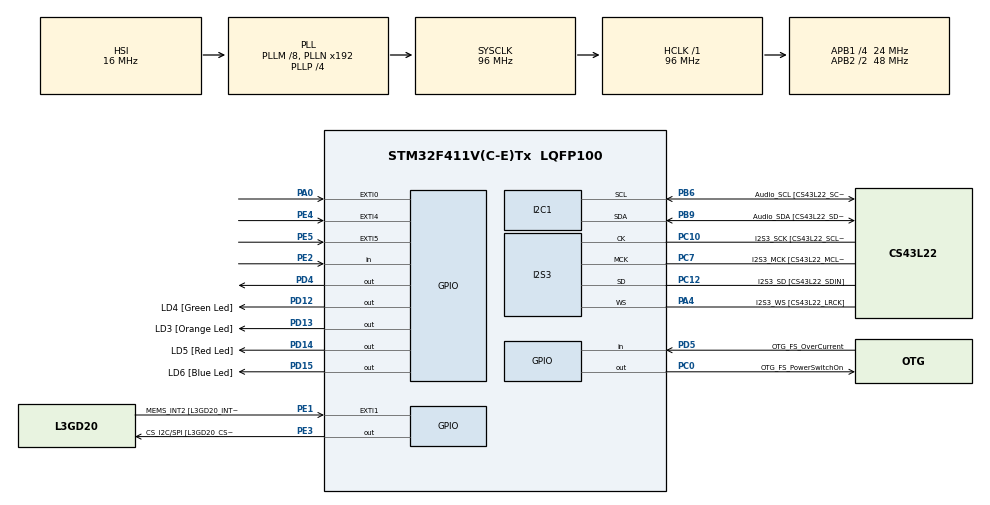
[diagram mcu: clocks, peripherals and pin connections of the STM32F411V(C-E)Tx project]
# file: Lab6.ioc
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Dma.Request0=SPI3_TX
Dma.SPI3_TX.0.Direction=DMA_MEMORY_TO_PERIPH
Dma.SPI3_TX.0.FIFOMode=DMA_FIFOMODE_ENABLE
Dma.SPI3_TX.0.FIFOThreshold=DMA_FIFO_THRESHOLD_FULL
Dma.SPI3_TX.0.Instance=DMA1_Stream5
Dma.SPI3_TX.0.MemBurst=DMA_MBURST_SINGLE
Dma.SPI3_TX.0.MemDataAlignment=DMA_MDATAALIGN_HALFWORD
Dma.SPI3_TX.0.MemInc=DMA_MINC_ENABLE
Dma.SPI3_TX.0.Mode=DMA_CIRCULAR
Dma.SPI3_TX.0.PeriphBurst=DMA_PBURST_SINGLE
Dma.SPI3_TX.0.PeriphDataAlignment=DMA_PDATAALIGN_HALFWORD
Dma.SPI3_TX.0.PeriphInc=DMA_PINC_DISABLE
Dma.SPI3_TX.0.Priority=DMA_PRIORITY_LOW
I2S3.AudioFreq=I2S_AUDIOFREQ_48K
I2S3.ErrorAudioFreq=1.72 %
I2S3.FullDuplexMode=I2S_FULLDUPLEXMODE_DISABLE
I2S3.Instance=SPI$Index
I2S3.RealAudioFreq=48.828 KHz
I2S3.VirtualMode=I2S_MODE_MASTER
Mcu.Family=STM32F4
Mcu.Name=STM32F411V(C-E)Tx
Mcu.Package=LQFP100
NVIC.DMA1_Stream5_IRQn=true\:0\:0\:false\:false\:true\:false\:true\:true
NVIC.PriorityGroup=NVIC_PRIORITYGROUP_0
PA0-WKUP.GPIO_ModeDefaultEXTI=GPIO_MODE_EVT_RISING
PA0-WKUP.Signal=GPXTI0
PA10.GPIO_Label=OTG_FS_ID
PA10.Signal=USB_OTG_FS_ID
PA11.GPIO_Label=OTG_FS_DM
PA11.Signal=USB_OTG_FS_DM
PA12.GPIO_Label=OTG_FS_DP
PA12.Signal=USB_OTG_FS_DP
PA13.GPIO_Label=SWDIO
PA13.Signal=SYS_JTMS-SWDIO
PA14.GPIO_Label=SWCLK
PA14.Signal=SYS_JTCK-SWCLK
PA4.GPIO_Label=I2S3_WS [CS43L22_LRCK]
PA4.GPIO_Mode=GPIO_MODE_AF_PP
PA4.GPIO_PuPd=GPIO_NOPULL
PA4.GPIO_Speed=GPIO_SPEED_FREQ_LOW
PA4.Mode=Half_Duplex_Master
PA4.Signal=I2S3_WS
PA5.GPIO_Label=SPI1_SCK [L3GD20_SC/SPC]
PA5.Signal=SPI1_SCK
PA6.GPIO_Label=SPI1_MISO [L3GD20_AS0/SDO]
PA6.Signal=SPI1_MISO
PA7.GPIO_Label=SPI1_MOSI [L3GD20_SDA/SDI/SDO]
PA7.Signal=SPI1_MOSI
PA9.GPIO_Label=VBUS_FS
PA9.Signal=USB_OTG_FS_VBUS
PB10.GPIO_Label=CLK_IN [MP45DT02_CLK]
PB10.Signal=I2S2_CK
PB12.Signal=I2S2_WS
PB3.GPIO_Label=SWO
PB3.Signal=SYS_JTDO-SWO
PB6.GPIO_Label=Audio_SCL [CS43L22_SCL]
PB6.GPIO_Mode=GPIO_MODE_AF_OD
PB6.GPIO_PuPd=GPIO_NOPULL
PB6.GPIO_Speed=GPIO_SPEED_FREQ_LOW
PB6.Mode=I2C
PB6.Signal=I2C1_SCL
PB9.GPIO_Label=Audio_SDA [CS43L22_SDA]
PB9.GPIO_Mode=GPIO_MODE_AF_OD
PB9.GPIO_PuPd=GPIO_NOPULL
PB9.GPIO_Speed=GPIO_SPEED_FREQ_LOW
PB9.Mode=I2C
PB9.Signal=I2C1_SDA
PC0.GPIO_Label=OTG_FS_PowerSwitchOn
PC0.PinState=GPIO_PIN_SET
PC0.Signal=GPIO_Output
PC10.GPIO_Label=I2S3_SCK [CS43L22_SCLK]
PC10.GPIO_Mode=GPIO_MODE_AF_PP
PC10.GPIO_PuPd=GPIO_NOPULL
PC10.GPIO_Speed=GPIO_SPEED_FREQ_LOW
PC10.Mode=Half_Duplex_Master
PC10.Signal=I2S3_CK
PC12.GPIO_Label=I2S3_SD [CS43L22_SDIN]
PC12.GPIO_Mode=GPIO_MODE_AF_PP
PC12.GPIO_PuPd=GPIO_NOPULL
PC12.GPIO_Speed=GPIO_SPEED_FREQ_LOW
PC12.Mode=Half_Duplex_Master
PC12.Signal=I2S3_SD
PC14-OSC32_IN.GPIO_Label=PC14-OSC32_IN
PC14-OSC32_IN.Signal=RCC_OSC32_IN
PC15-OSC32_OUT.GPIO_Label=PC15-OSC32_OUT
PC15-OSC32_OUT.Signal=RCC_OSC32_OUT
PC3.GPIO_Label=PDM_OUT [MP45DT02_DOUT]
PC3.Signal=I2S2_SD
PC7.GPIO_Label=I2S3_MCK [CS43L22_MCLK]
PC7.GPIO_Mode=GPIO_MODE_AF_PP
PC7.GPIO_PuPd=GPIO_NOPULL
PC7.GPIO_Speed=GPIO_SPEED_FREQ_LOW
PC7.Mode=Master_Clock_Activated
PC7.Signal=I2S3_MCK
PD12.GPIO_Label=LD4 [Green Led]
PD12.GPIO_PuPd=GPIO_NOPULL
PD12.GPIO_Speed=GPIO_SPEED_FREQ_LOW
PD12.Signal=GPIO_Output
PD13.GPIO_Label=LD3 [Orange Led]
PD13.GPIO_PuPd=GPIO_NOPULL
PD13.GPIO_Speed=GPIO_SPEED_FREQ_LOW
PD13.Signal=GPIO_Output
PD14.GPIO_Label=LD5 [Red Led]
PD14.GPIO_PuPd=GPIO_NOPULL
PD14.GPIO_Speed=GPIO_SPEED_FREQ_LOW
PD14.Signal=GPIO_Output
PD15.GPIO_Label=LD6 [Blue Led]
PD15.GPIO_PuPd=GPIO_NOPULL
PD15.GPIO_Speed=GPIO_SPEED_FREQ_LOW
PD15.Signal=GPIO_Output
PD4.Signal=GPIO_Output
PD5.GPIO_Label=OTG_FS_OverCurrent
PD5.Signal=GPIO_Input
PE1.GPIO_Label=MEMS_INT2 [L3GD20_INT2]
PE1.GPIO_ModeDefaultEXTI=GPIO_MODE_EVT_RISING
PE1.Signal=GPXTI1
PE2.Signal=GPIO_Input
PE3.GPIO_Label=CS_I2C/SPI [L3GD20_CS_I2C/SPI]
PE3.Signal=GPIO_Output
PE4.GPIO_ModeDefaultEXTI=GPIO_MODE_EVT_RISING
PE4.Signal=GPXTI4
PE5.GPIO_ModeDefaultEXTI=GPIO_MODE_EVT_RISING
PE5.Signal=GPXTI5
PH0\ -\ OSC_IN.GPIO_Label=PH0-OSC_IN
PH0\ -\ OSC_IN.Signal=RCC_OSC_IN
PH1\ -\ OSC_OUT.GPIO_Label=PH1-OSC_OUT
PH1\ -\ OSC_OUT.Signal=RCC_OSC_OUT
ProjectManager.HeapSize=0x200
ProjectManager.StackSize=0x400
ProjectManager.TargetToolchain=STM32CubeIDE
RCC.48MHZClocksFreq_Value=48000000
RCC.AHBFreq_Value=96000000
RCC.APB1CLKDivider=RCC_HCLK_DIV4
RCC.APB1Freq_Value=24000000
RCC.APB1TimFreq_Value=48000000
RCC.APB2CLKDivider=RCC_HCLK_DIV2
RCC.APB2Freq_Value=48000000
RCC.APB2TimFreq_Value=96000000
RCC.CortexFreq_Value=96000000
RCC.HCLKFreq_Value=96000000
RCC.HSE_VALUE=8000000
RCC.HSI_VALUE=16000000
RCC.LSE_VALUE=32768
RCC.PLLI2SM=8
RCC.PLLI2SN=50
RCC.PLLM=8
RCC.PLLP=RCC_PLLP_DIV4
RCC.PLLQ=8
RCC.SYSCLKFreq_VALUE=96000000
RCC.SYSCLKSource=RCC_SYSCLKSOURCE_PLLCLK
RCC.VCOOutputFreq_Value=384000000
board=STM32F411E-DISCO

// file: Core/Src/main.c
/* USER CODE BEGIN Header */
/**
  ******************************************************************************
  * @file           : main.c
  * @brief          : Main program body
  ******************************************************************************
  * @attention
  *
  * Copyright (c) 2023 STMicroelectronics.
  * All rights reserved.
  *
  * This software is licensed under terms that can be found in the LICENSE file
  * in the root directory of this software component.
  * If no LICENSE file comes with this software, it is provided AS-IS.
  *
  ******************************************************************************
  */
/* USER CODE END Header */
#include "main.h"

/* USER CODE BEGIN PTD */
typedef enum
{
	C4 = 0x00,
	C5 = 0x10,
	D5 = 0x20,
	E5 = 0x30,
	F5 = 0x40,
	G5 = 0x50,
	A5 = 0x60,
	B5 = 0x70,
	C6 = 0x80,
	D6 = 0x90,
	E6 = 0xA0,
	F6 = 0xB0,
	G6 = 0xC0,
	A6 = 0xD0,
	B6 = 0xE0,
	C7 = 0xF0
} soundToneType;
/* USER CODE END PTD */

/* USER CODE BEGIN PD */
#define CS43L22_I2C_ADDRESS		0x94
#define I2C_TIMEOUT				10
/* USER CODE END PD */

I2C_HandleTypeDef hi2c1;

I2S_HandleTypeDef hi2s3;
DMA_HandleTypeDef hdma_spi3_tx;

/* USER CODE BEGIN PV */
int16_t dataI2S[100] = {0};
/* USER CODE END PV */

void SystemClock_Config(void);
static void MX_GPIO_Init(void);
static void MX_DMA_Init(void);
static void MX_I2C1_Init(void);
static void MX_I2S3_Init(void);

/* USER CODE BEGIN 0 */
void CS43L22_Init(void)
{
	// Enable chip
	HAL_GPIO_WritePin(GPIOD, GPIO_PIN_4, GPIO_PIN_SET);

	//
	// Initialization
	//
	uint8_t TxBuffer[2];

	TxBuffer[0] = 0x0D;
	TxBuffer[1] = 0x01;
	HAL_I2C_Master_Transmit(&hi2c1, CS43L22_I2C_ADDRESS, (uint8_t*) &TxBuffer, 2, I2C_TIMEOUT);

	TxBuffer[0] = 0x00;
	TxBuffer[1] = 0x99;
	HAL_I2C_Master_Transmit(&hi2c1, CS43L22_I2C_ADDRESS, (uint8_t*) &TxBuffer, 2, I2C_TIMEOUT);

	TxBuffer[0] = 0x47;
	TxBuffer[1] = 0x80;
	HAL_I2C_Master_Transmit(&hi2c1, CS43L22_I2C_ADDRESS, (uint8_t*) &TxBuffer, 2, I2C_TIMEOUT);

	TxBuffer[0] = 0x32;
	TxBuffer[1] = 0xFF;
	HAL_I2C_Master_Transmit(&hi2c1, CS43L22_I2C_ADDRESS, (uint8_t*) &TxBuffer, 2, I2C_TIMEOUT);

	TxBuffer[0] = 0x32;
	TxBuffer[1] = 0x7F;
	HAL_I2C_Master_Transmit(&hi2c1, CS43L22_I2C_ADDRESS, (uint8_t*) &TxBuffer, 2, I2C_TIMEOUT);

	TxBuffer[0] = 0x00;
	TxBuffer[1] = 0x00;
	HAL_I2C_Master_Transmit(&hi2c1, CS43L22_I2C_ADDRESS, (uint8_t*) &TxBuffer, 2, I2C_TIMEOUT);

	TxBuffer[0] = 0x04;
	TxBuffer[1] = 0xAF;
	HAL_I2C_Master_Transmit(&hi2c1, CS43L22_I2C_ADDRESS, (uint8_t*) &TxBuffer, 2, I2C_TIMEOUT);

	TxBuffer[0] = 0x0D;
	TxBuffer[1] = 0x70;
	HAL_I2C_Master_Transmit(&hi2c1, CS43L22_I2C_ADDRESS, (uint8_t*) &TxBuffer, 2, I2C_TIMEOUT);

	TxBuffer[0] = 0x05;
	TxBuffer[1] = 0x81;
	HAL_I2C_Master_Transmit(&hi2c1, CS43L22_I2C_ADDRESS, (uint8_t*) &TxBuffer, 2, I2C_TIMEOUT);

	TxBuffer[0] = 0x06;
	TxBuffer[1] = 0x07;
	HAL_I2C_Master_Transmit(&hi2c1, CS43L22_I2C_ADDRESS, (uint8_t*) &TxBuffer, 2, I2C_TIMEOUT);

	TxBuffer[0] = 0x0A;
	TxBuffer[1] = 0x00;
	HAL_I2C_Master_Transmit(&hi2c1, CS43L22_I2C_ADDRESS, (uint8_t*) &TxBuffer, 2, I2C_TIMEOUT);

	TxBuffer[0] = 0x27;
	TxBuffer[1] = 0x00;
	HAL_I2C_Master_Transmit(&hi2c1, CS43L22_I2C_ADDRESS, (uint8_t*) &TxBuffer, 2, I2C_TIMEOUT);

	TxBuffer[0] = 0x1A;
	TxBuffer[1] = 0x0A;
	HAL_I2C_Master_Transmit(&hi2c1, CS43L22_I2C_ADDRESS, (uint8_t*) &TxBuffer, 2, I2C_TIMEOUT);

	TxBuffer[0] = 0x1B;
	TxBuffer[1] = 0x0A;
	HAL_I2C_Master_Transmit(&hi2c1, CS43L22_I2C_ADDRESS, (uint8_t*) &TxBuffer, 2, I2C_TIMEOUT);

	TxBuffer[0] = 0x1F;
	TxBuffer[1] = 0x0F;
	HAL_I2C_Master_Transmit(&hi2c1, CS43L22_I2C_ADDRESS, (uint8_t*) &TxBuffer, 2, I2C_TIMEOUT);

	TxBuffer[0] = 0x02;
	TxBuffer[1] = 0x9E;
	HAL_I2C_Master_Transmit(&hi2c1, CS43L22_I2C_ADDRESS, (uint8_t*) &TxBuffer, 2, I2C_TIMEOUT);

	/* Volume level, reference: MSTA, MSTB */
	TxBuffer[0] = 0x20;
	TxBuffer[1] = 0xDF;
	HAL_I2C_Master_Transmit(&hi2c1, CS43L22_I2C_ADDRESS, (uint8_t*) &TxBuffer, 2, I2C_TIMEOUT);

	TxBuffer[0] = 0x21;
	TxBuffer[1] = 0xDF;
	HAL_I2C_Master_Transmit(&hi2c1, CS43L22_I2C_ADDRESS, (uint8_t*) &TxBuffer, 2, I2C_TIMEOUT);
}

void CS43L22_Beep(soundToneType pitch, uint32_t duration_ms)
{
	uint8_t TxBuffer[2];

	// Set volume and off time
	TxBuffer[0] = 0x1D;		// Register address
	TxBuffer[1] = 0x00;		// Value (volume and off time)
	HAL_I2C_Master_Transmit(&hi2c1, CS43L22_I2C_ADDRESS, (uint8_t*) &TxBuffer, 2, I2C_TIMEOUT);

	// Set sound frequency
	TxBuffer[0] = 0x1C;		// Register address
	TxBuffer[1] = pitch;
	HAL_I2C_Master_Transmit(&hi2c1, CS43L22_I2C_ADDRESS, (uint8_t*) &TxBuffer, 2, I2C_TIMEOUT);

	// Enable continuous mode (SOUND STARTED)
	TxBuffer[0] = 0x1E;		// Register address
	TxBuffer[1] = 0xC0;		// Value (beep and tone configuration)
	HAL_I2C_Master_Transmit(&hi2c1, CS43L22_I2C_ADDRESS, (uint8_t*) &TxBuffer, 2, I2C_TIMEOUT);

	// Playing...
	HAL_Delay(duration_ms);

	// Disable continuous mode (SOUND STOPED)
	TxBuffer[0] = 0x1E;		// Register address
	TxBuffer[1] = 0x00;		// Value (beep and tone configuration)
	HAL_I2C_Master_Transmit(&hi2c1, CS43L22_I2C_ADDRESS, (uint8_t*) &TxBuffer, 2, I2C_TIMEOUT);
}
/* USER CODE END 0 */

int main(void)
{
  /* USER CODE BEGIN 1 */
	uint8_t pitch = 0;
  /* USER CODE END 1 */

  /* MCU Configuration--------------------------------------------------------*/

  /* Reset of all peripherals, Initializes the Flash interface and the Systick. */
  HAL_Init();

  /* Configure the system clock */
  SystemClock_Config();

  /* Initialize all configured peripherals */
  MX_GPIO_Init();
  MX_DMA_Init();
  MX_I2C1_Init();
  MX_I2S3_Init();
  /* USER CODE BEGIN 2 */
  CS43L22_Init();
  HAL_I2S_Transmit_DMA(&hi2s3, (uint16_t *)dataI2S, 100);
  /* USER CODE END 2 */

  /* Infinite loop */
  /* USER CODE BEGIN WHILE */
  while (1)
  {
	  for (pitch = 0; pitch <= C7; pitch = pitch + 0x10)
	  {
		  CS43L22_Beep(pitch, 500);
		  HAL_Delay(500);
	  }
    /* USER CODE END WHILE */

  }
}

void SystemClock_Config(void)
{
  RCC_OscInitTypeDef RCC_OscInitStruct = {0};
  RCC_ClkInitTypeDef RCC_ClkInitStruct = {0};

  /** Configure the main internal regulator output voltage
  */
  __HAL_RCC_PWR_CLK_ENABLE();
  __HAL_PWR_VOLTAGESCALING_CONFIG(PWR_REGULATOR_VOLTAGE_SCALE1);

  /** Initializes the RCC Oscillators according to the specified parameters
  * in the RCC_OscInitTypeDef structure.
  */
  RCC_OscInitStruct.OscillatorType = RCC_OSCILLATORTYPE_HSI;
  RCC_OscInitStruct.HSIState = RCC_HSI_ON;
  RCC_OscInitStruct.HSICalibrationValue = RCC_HSICALIBRATION_DEFAULT;
  RCC_OscInitStruct.PLL.PLLState = RCC_PLL_ON;
  RCC_OscInitStruct.PLL.PLLSource = RCC_PLLSOURCE_HSI;
  RCC_OscInitStruct.PLL.PLLM = 8;
  RCC_OscInitStruct.PLL.PLLN = 192;
  RCC_OscInitStruct.PLL.PLLP = RCC_PLLP_DIV4;
  RCC_OscInitStruct.PLL.PLLQ = 8;
  if (HAL_RCC_OscConfig(&RCC_OscInitStruct) != HAL_OK)
  {
    Error_Handler();
  }

  /** Initializes the CPU, AHB and APB buses clocks
  */
  RCC_ClkInitStruct.ClockType = RCC_CLOCKTYPE_HCLK|RCC_CLOCKTYPE_SYSCLK
                              |RCC_CLOCKTYPE_PCLK1|RCC_CLOCKTYPE_PCLK2;
  RCC_ClkInitStruct.SYSCLKSource = RCC_SYSCLKSOURCE_PLLCLK;
  RCC_ClkInitStruct.AHBCLKDivider = RCC_SYSCLK_DIV1;
  RCC_ClkInitStruct.APB1CLKDivider = RCC_HCLK_DIV4;
  RCC_ClkInitStruct.APB2CLKDivider = RCC_HCLK_DIV2;

  if (HAL_RCC_ClockConfig(&RCC_ClkInitStruct, FLASH_LATENCY_3) != HAL_OK)
  {
    Error_Handler();
  }
}

static void MX_I2C1_Init(void)
{

  hi2c1.Instance = I2C1;
  hi2c1.Init.ClockSpeed = 100000;
  hi2c1.Init.DutyCycle = I2C_DUTYCYCLE_2;
  hi2c1.Init.OwnAddress1 = 0;
  hi2c1.Init.AddressingMode = I2C_ADDRESSINGMODE_7BIT;
  hi2c1.Init.DualAddressMode = I2C_DUALADDRESS_DISABLE;
  hi2c1.Init.OwnAddress2 = 0;
  hi2c1.Init.GeneralCallMode = I2C_GENERALCALL_DISABLE;
  hi2c1.Init.NoStretchMode = I2C_NOSTRETCH_DISABLE;
  if (HAL_I2C_Init(&hi2c1) != HAL_OK)
  {
    Error_Handler();
  }

}

static void MX_I2S3_Init(void)
{

  hi2s3.Instance = SPI3;
  hi2s3.Init.Mode = I2S_MODE_MASTER_TX;
  hi2s3.Init.Standard = I2S_STANDARD_PHILIPS;
  hi2s3.Init.DataFormat = I2S_DATAFORMAT_16B;
  hi2s3.Init.MCLKOutput = I2S_MCLKOUTPUT_ENABLE;
  hi2s3.Init.AudioFreq = I2S_AUDIOFREQ_48K;
  hi2s3.Init.CPOL = I2S_CPOL_LOW;
  hi2s3.Init.ClockSource = I2S_CLOCK_PLL;
  hi2s3.Init.FullDuplexMode = I2S_FULLDUPLEXMODE_DISABLE;
  if (HAL_I2S_Init(&hi2s3) != HAL_OK)
  {
    Error_Handler();
  }

}

static void MX_DMA_Init(void)
{

  /* DMA controller clock enable */
  __HAL_RCC_DMA1_CLK_ENABLE();

  /* DMA interrupt init */
  /* DMA1_Stream5_IRQn interrupt configuration */
  HAL_NVIC_SetPriority(DMA1_Stream5_IRQn, 0, 0);
  HAL_NVIC_EnableIRQ(DMA1_Stream5_IRQn);

}

static void MX_GPIO_Init(void)
{
  GPIO_InitTypeDef GPIO_InitStruct = {0};

  /* GPIO Ports Clock Enable */
  __HAL_RCC_GPIOE_CLK_ENABLE();
  __HAL_RCC_GPIOC_CLK_ENABLE();
  __HAL_RCC_GPIOH_CLK_ENABLE();
  __HAL_RCC_GPIOA_CLK_ENABLE();
  __HAL_RCC_GPIOB_CLK_ENABLE();
  __HAL_RCC_GPIOD_CLK_ENABLE();

  /*Configure GPIO pin Output Level */
  HAL_GPIO_WritePin(CS_I2C_SPI_GPIO_Port, CS_I2C_SPI_Pin, GPIO_PIN_RESET);

  /*Configure GPIO pin Output Level */
  HAL_GPIO_WritePin(OTG_FS_PowerSwitchOn_GPIO_Port, OTG_FS_PowerSwitchOn_Pin, GPIO_PIN_SET);

  /*Configure GPIO pin Output Level */
  HAL_GPIO_WritePin(GPIOD, LD4_Pin|LD3_Pin|LD5_Pin|LD6_Pin
                          |GPIO_PIN_4, GPIO_PIN_RESET);

  /*Configure GPIO pin : PE2 */
  GPIO_InitStruct.Pin = GPIO_PIN_2;
  GPIO_InitStruct.Mode = GPIO_MODE_INPUT;
  GPIO_InitStruct.Pull = GPIO_NOPULL;
  HAL_GPIO_Init(GPIOE, &GPIO_InitStruct);

  /*Configure GPIO pin : CS_I2C_SPI_Pin */
  GPIO_InitStruct.Pin = CS_I2C_SPI_Pin;
  GPIO_InitStruct.Mode = GPIO_MODE_OUTPUT_PP;
  GPIO_InitStruct.Pull = GPIO_NOPULL;
  GPIO_InitStruct.Speed = GPIO_SPEED_FREQ_LOW;
  HAL_GPIO_Init(CS_I2C_SPI_GPIO_Port, &GPIO_InitStruct);

  /*Configure GPIO pins : PE4 PE5 MEMS_INT2_Pin */
  GPIO_InitStruct.Pin = GPIO_PIN_4|GPIO_PIN_5|MEMS_INT2_Pin;
  GPIO_InitStruct.Mode = GPIO_MODE_EVT_RISING;
  GPIO_InitStruct.Pull = GPIO_NOPULL;
  HAL_GPIO_Init(GPIOE, &GPIO_InitStruct);

  /*Configure GPIO pin : OTG_FS_PowerSwitchOn_Pin */
  GPIO_InitStruct.Pin = OTG_FS_PowerSwitchOn_Pin;
  GPIO_InitStruct.Mode = GPIO_MODE_OUTPUT_PP;
  GPIO_InitStruct.Pull = GPIO_NOPULL;
  GPIO_InitStruct.Speed = GPIO_SPEED_FREQ_LOW;
  HAL_GPIO_Init(OTG_FS_PowerSwitchOn_GPIO_Port, &GPIO_InitStruct);

  /*Configure GPIO pin : PDM_OUT_Pin */
  GPIO_InitStruct.Pin = PDM_OUT_Pin;
  GPIO_InitStruct.Mode = GPIO_MODE_AF_PP;
  GPIO_InitStruct.Pull = GPIO_NOPULL;
  GPIO_InitStruct.Speed = GPIO_SPEED_FREQ_LOW;
  GPIO_InitStruct.Alternate = GPIO_AF5_SPI2;
  HAL_GPIO_Init(PDM_OUT_GPIO_Port, &GPIO_InitStruct);

  /*Configure GPIO pin : PA0 */
  GPIO_InitStruct.Pin = GPIO_PIN_0;
  GPIO_InitStruct.Mode = GPIO_MODE_EVT_RISING;
  GPIO_InitStruct.Pull = GPIO_NOPULL;
  HAL_GPIO_Init(GPIOA, &GPIO_InitStruct);

  /*Configure GPIO pins : SPI1_SCK_Pin SPI1_MISO_Pin SPI1_MOSI_Pin */
  GPIO_InitStruct.Pin = SPI1_SCK_Pin|SPI1_MISO_Pin|SPI1_MOSI_Pin;
  GPIO_InitStruct.Mode = GPIO_MODE_AF_PP;
  GPIO_InitStruct.Pull = GPIO_NOPULL;
  GPIO_InitStruct.Speed = GPIO_SPEED_FREQ_VERY_HIGH;
  GPIO_InitStruct.Alternate = GPIO_AF5_SPI1;
  HAL_GPIO_Init(GPIOA, &GPIO_InitStruct);

  /*Configure GPIO pins : CLK_IN_Pin PB12 */
  GPIO_InitStruct.Pin = CLK_IN_Pin|GPIO_PIN_12;
  GPIO_InitStruct.Mode = GPIO_MODE_AF_PP;
  GPIO_InitStruct.Pull = GPIO_NOPULL;
  GPIO_InitStruct.Speed = GPIO_SPEED_FREQ_LOW;
  GPIO_InitStruct.Alternate = GPIO_AF5_SPI2;
  HAL_GPIO_Init(GPIOB, &GPIO_InitStruct);

  /*Configure GPIO pins : LD4_Pin LD3_Pin LD5_Pin LD6_Pin
                           PD4 */
  GPIO_InitStruct.Pin = LD4_Pin|LD3_Pin|LD5_Pin|LD6_Pin
                          |GPIO_PIN_4;
  GPIO_InitStruct.Mode = GPIO_MODE_OUTPUT_PP;
  GPIO_InitStruct.Pull = GPIO_NOPULL;
  GPIO_InitStruct.Speed = GPIO_SPEED_FREQ_LOW;
  HAL_GPIO_Init(GPIOD, &GPIO_InitStruct);

  /*Configure GPIO pin : VBUS_FS_Pin */
  GPIO_InitStruct.Pin = VBUS_FS_Pin;
  GPIO_InitStruct.Mode = GPIO_MODE_INPUT;
  GPIO_InitStruct.Pull = GPIO_NOPULL;
  HAL_GPIO_Init(VBUS_FS_GPIO_Port, &GPIO_InitStruct);

  /*Configure GPIO pins : OTG_FS_ID_Pin OTG_FS_DM_Pin OTG_FS_DP_Pin */
  GPIO_InitStruct.Pin = OTG_FS_ID_Pin|OTG_FS_DM_Pin|OTG_FS_DP_Pin;
  GPIO_InitStruct.Mode = GPIO_MODE_AF_PP;
  GPIO_InitStruct.Pull = GPIO_NOPULL;
  GPIO_InitStruct.Speed = GPIO_SPEED_FREQ_VERY_HIGH;
  GPIO_InitStruct.Alternate = GPIO_AF10_OTG_FS;
  HAL_GPIO_Init(GPIOA, &GPIO_InitStruct);

  /*Configure GPIO pin : OTG_FS_OverCurrent_Pin */
  GPIO_InitStruct.Pin = OTG_FS_OverCurrent_Pin;
  GPIO_InitStruct.Mode = GPIO_MODE_INPUT;
  GPIO_InitStruct.Pull = GPIO_NOPULL;
  HAL_GPIO_Init(OTG_FS_OverCurrent_GPIO_Port, &GPIO_InitStruct);

}

void Error_Handler(void)
{
  __disable_irq();
  while (1)
  {
  }
}
